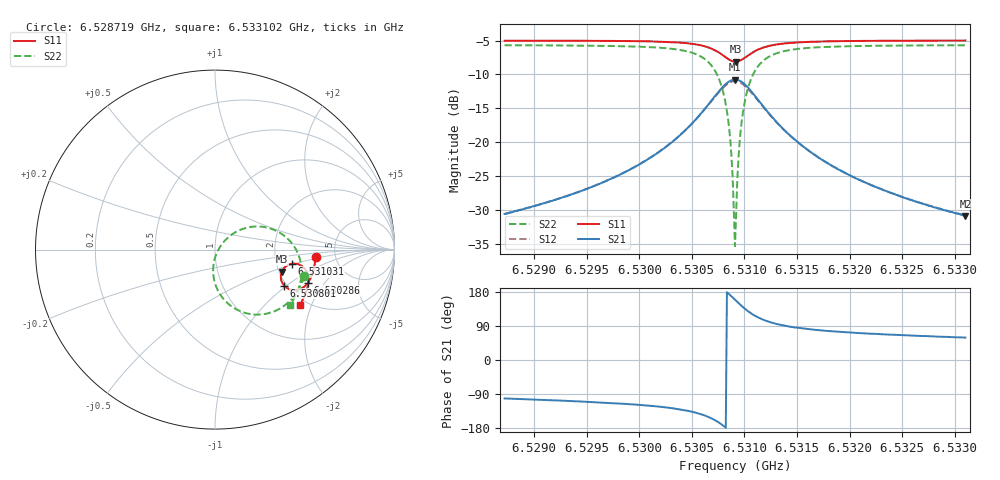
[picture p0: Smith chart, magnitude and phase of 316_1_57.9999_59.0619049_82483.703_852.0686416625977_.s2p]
#  HZ  S  RI  R  50.00
! Rohde & Schwarz Vector Network Analyzer
! Rohde-Schwarz,ZNB20-2Port,1311601062101988,3.16
! Created: UTC 3/21/2024, 1:04:23 AM
! freq[Hz]  re:S11  im:S11  re:S21  im:S21  re:S12  im:S12  re:S22  im:S22
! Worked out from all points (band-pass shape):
!   401 points, 6.528719 GHz to 6.533102 GHz, reference 50 ohm
!   highest |S21| = -10.76 dB at 6.53091 GHz (marker M1); lowest = -30.9 dB at 6.533102 GHz (marker M2)
!   |S21| within 3 dB of the highest: 6.530692 GHz to 6.53113 GHz (437.9 kHz wide, 0.00671 % of centre)
!   lowest |S11| = -8.1 dB at 6.530921 GHz (marker M3), VSWR 2.29, Z = 103 - j30.1 ohm
!   |S11| at or under -10 dB: nowhere
!   |S22| runs from -35.4 to -5.7 dB; largest |S21 - S12| = 0.011
!   S11 on the Smith chart (normalised r, x): 6.528719 GHz: 3.50, -0.44; 6.530286 GHz: 2.61, -1.39; 6.530801 GHz: 1.94, -0.96; 6.531031 GHz: 2.43, -0.47; 6.533102 GHz: 1.84, -1.65
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6.5287186e9  0.56 -0.0428  -0.00585 -0.0288  -0.00643 -0.0287  0.4982 -0.1477
6.5294528e9  0.5512 -0.1032  -0.0147 -0.0412  -0.0155 -0.0409  0.4697 -0.2147
6.5301871e9  0.5246 -0.1743  -0.0462 -0.0709  -0.048 -0.0697  0.393 -0.3072
6.5302857e9  0.5168 -0.1858  -0.057 -0.0778  -0.0592 -0.0762  0.3699 -0.3235
6.5306364e9  0.4538 -0.2255  -0.1534 -0.0961  -0.1557 -0.0901  0.1867 -0.3574
6.530735e9  0.4148 -0.2211  -0.214 -0.0727  -0.2138 -0.064  0.0833 -0.3097
6.5308008e9  0.3857 -0.2011  -0.2573 -0.0284  -0.2532 -0.019  0.0163 -0.2282
6.5308337e9  0.3742 -0.184  -0.273 0.00547  -0.2667 0.0142  -0.00487 -0.1688
6.5308556e9  0.369 -0.17  -0.279 0.0319  -0.2711 0.0397  -0.0105 -0.1242
6.5308775e9  0.3667 -0.1548  -0.2798 0.0603  -0.271 0.0665  -0.00722 -0.0771
6.5308885e9  0.3667 -0.1468  -0.2781 0.0749  -0.269 0.0802  -0.00219 -0.0535
6.5308994e9  0.3677 -0.1388  -0.2751 0.0893  -0.2655 0.0938  0.00523 -0.0305
6.5309104e9  0.3696 -0.131  -0.2707 0.1033  -0.2608 0.1069  0.015 -0.00795
6.5309213e9  0.3721 -0.1234  -0.2646 0.1169  -0.2549 0.1195  0.0268 0.0133
6.5309652e9  0.3899 -0.0977  -0.2296 0.1626  -0.2207 0.1621  0.0916 0.0826
6.5309981e9  0.4081 -0.0852  -0.1961 0.1847  -0.1887 0.1827  0.1506 0.1139
6.5310309e9  0.4274 -0.079  -0.1616 0.1965  -0.1558 0.1936  0.2098 0.1276
6.5311076e9  0.466 -0.0823  -0.0935 0.1947  -0.0905 0.1919  0.324 0.1122
6.5312172e9  0.4989 -0.1049  -0.0361 0.1647  -0.0347 0.1634  0.4175 0.0481
6.5316446e9  0.521 -0.1806  0.0138 0.0816  0.015 0.0814  0.4822 -0.1289
6.5323789e9  0.5012 -0.2531  0.0166 0.0391  0.0173 0.0389  0.4547 -0.2438
6.5331022e9  0.4734 -0.3062  0.0146 0.0244  0.015 0.0243  0.4196 -0.306
